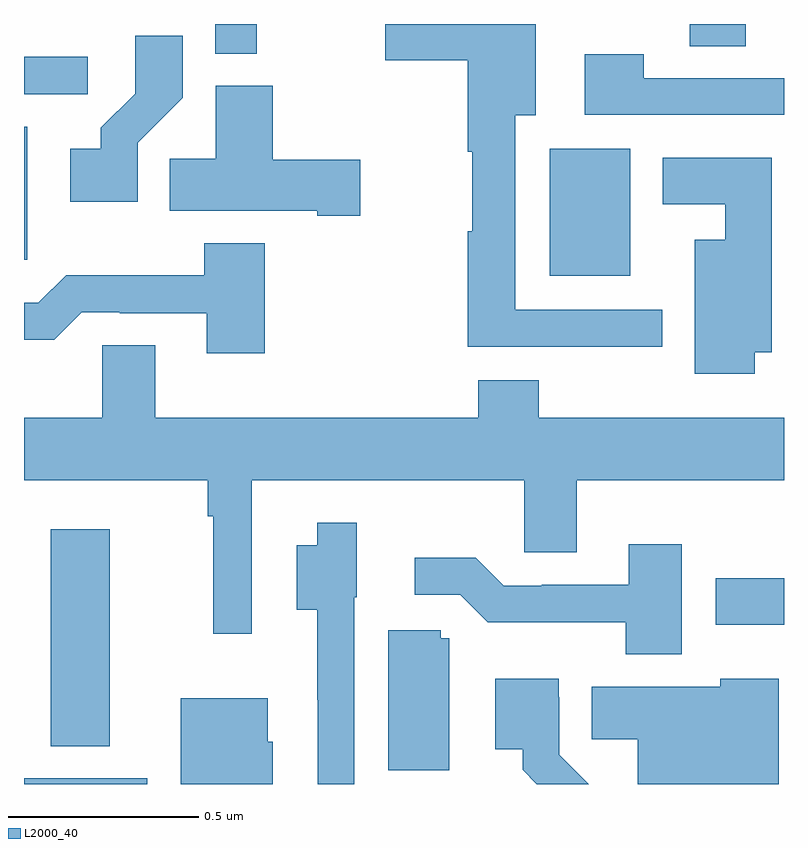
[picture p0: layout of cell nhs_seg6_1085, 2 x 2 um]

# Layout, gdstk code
import gdstk
lib = gdstk.Library(unit=1e-6, precision=1e-09)
def R(c, l, rs):  # rectangles x0, y0, x1, y1
    for r in rs: c.add(gdstk.rectangle(r[:2], r[2:], *l))
def P(c, l, *ps):  # polygons
    for p in ps: c.add(gdstk.Polygon(p, *l))
L2000_40 = (2000, 40)

nhs_seg6_1085 = lib.new_cell('nhs_seg6_1085')
R(nhs_seg6_1085, L2000_40, [(124,982.5,124.324,982.515), (124.07,982.6,124.225,983.17), (125.82,982.919,126,983.041), (125.384,983.837,125.596,984.172), (124,983.88,124.009,984.229), (124,984.315,124.168,984.414), (124.503,984.422,124.612,984.5), (125.752,984.442,125.899,984.5)])
P(nhs_seg6_1085, L2000_40, [(125.68,983.748),(125.293,983.748),(125.293,984.26),(125.347,984.26),(125.347,984.5),(124.95,984.5),(124.95,984.404),(125.168,984.404),(125.168,984.164),(125.18,984.164),(125.18,983.955),(125.168,983.955),(125.168,983.651),(125.68,983.651)],
  [(124.299,984.187),(124.418,984.306),(124.418,984.469),(124.293,984.469),(124.293,984.317),(124.202,984.227),(124.202,984.172),(124.122,984.172),(124.122,984.032),(124.299,984.032)],
  [(126,984.357),(125.631,984.357),(125.631,984.421),(125.475,984.421),(125.475,984.261),(126,984.261)],
  [(124.885,984.143),(124.655,984.143),(124.655,984.337),(124.505,984.337),(124.505,984.146),(124.384,984.146),(124.384,984.008),(124.772,984.008),(124.772,983.996),(124.885,983.996)],
  [(125.923,983.636),(125.968,983.636),(125.968,984.148),(125.681,984.148),(125.681,984.026),(125.846,984.026),(125.846,983.932),(125.765,983.932),(125.765,983.58),(125.923,983.58)],
  [(124.634,983.923),(124.474,983.923),(124.474,983.839),(124.111,983.839),(124.038,983.766),(124,983.766),(124,983.669),(124.079,983.669),(124.152,983.742),(124.252,983.742),(124.252,983.739),(124.481,983.739),(124.481,983.634),(124.634,983.634)],
  [(124.599,983.3),(125.316,983.3),(125.316,983.11),(125.455,983.11),(125.455,983.3),(126,983.3),(126,983.464),(125.355,983.464),(125.355,983.563),(125.195,983.563),(125.195,983.464),(124.345,983.464),(124.345,983.654),(124.206,983.654),(124.206,983.464),(124,983.464),(124,983.3),(124.483,983.3),(124.483,983.204),(124.498,983.204),(124.498,982.896),(124.599,982.896)],
  [(124.869,982.992),(124.876,982.992),(124.876,983.188),(124.772,983.188),(124.772,983.128),(124.718,983.128),(124.718,982.958),(124.772,982.958),(124.772,982.722),(124.773,982.722),(124.773,982.5),(124.869,982.5)],
  [(125.731,983.131),(125.591,983.131),(125.591,983.025),(125.362,983.025),(125.362,983.022),(125.262,983.022),(125.189,983.095),(125.028,983.095),(125.028,982.998),(125.148,982.998),(125.221,982.926),(125.584,982.926),(125.584,982.841),(125.731,982.841)],
  [(125.119,982.884),(125.097,982.884),(125.097,982.905),(124.958,982.905),(124.958,982.536),(125.119,982.536)],
  [(125.986,982.777),(125.832,982.777),(125.832,982.756),(125.494,982.756),(125.494,982.618),(125.615,982.618),(125.615,982.5),(125.986,982.5)],
  [(125.409,982.577),(125.409,982.728),(125.407,982.728),(125.407,982.777),(125.24,982.777),(125.24,982.592),(125.312,982.592),(125.312,982.537),(125.349,982.5),(125.486,982.5)],
  [(124.654,982.611),(124.642,982.611),(124.642,982.726),(124.412,982.726),(124.412,982.5),(124.654,982.5)])

lib.write_gds('nhs_seg6_1085.gds')
